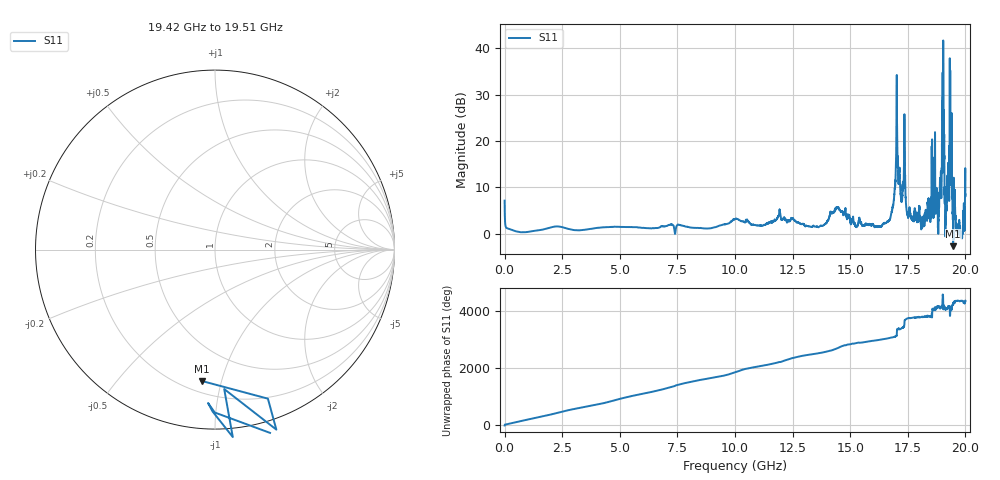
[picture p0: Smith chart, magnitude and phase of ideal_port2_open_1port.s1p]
! Created with skrf 1.8.0 (http://scikit-rf.org).
# GHz S RI R 50.0
!freq ReS11 ImS11
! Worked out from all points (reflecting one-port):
!   10001 points, 1 MHz to 20 GHz, reference 50 ohm
!   lowest |S11| = -2.7 dB at 19.47 GHz (marker M1), VSWR 6.56, Z = 13.6 - j43.3 ohm
!   phase of S11 starts at -18 deg and turns +4377 deg over the sweep
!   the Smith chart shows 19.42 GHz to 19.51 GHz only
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0.001  2.159 -0.7214
0.8769562  -1.006 0.2572
2.500875  -0.3403 1.128
4.090795  1.155 0.1166
5.00075  -1.159 -0.2615
7.500625  0.9626 -0.7854
8.79856  -1.14 -0.0148
10.0005  1.046 0.9861
10.54847  -1.383 0.0298
11.86441  1.275 0.8676
12.50038  -1.445 -0.1509
14.19629  -0.1247 1.671
14.48028  -1.935 -0.1045
15.00025  0.8244 -1.065
16.46018  -0.8465 0.9776
16.85216  -1.96 -0.5164
16.92215  -2.396 -1.505
17.12414  -3.258 3.383
17.25414  -2.239 0.6367
17.50013  -1.164 1.041
18.46208  -2.02 -0.4667
18.63807  0.13 1.907
18.91005  -2.01 2.459
18.99405  -4.609 -7.866
19.14204  -0.0308 1.424
19.33803  -3.908 -7.533
19.46603  -0.075 -0.7315
20  2.088 1.648
